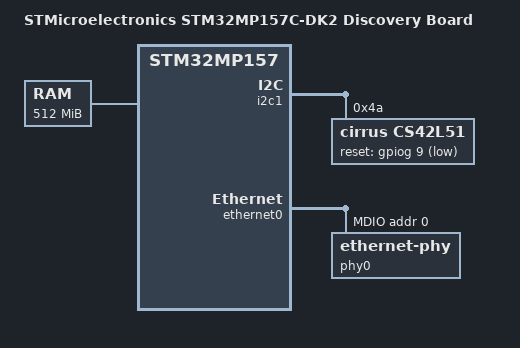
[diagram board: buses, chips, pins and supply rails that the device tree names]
/dts-v1/; /* the required version header at the top of the file */

/ {
    #address-cells = <1>; /* how many "cells" (32-bits) are used to represent addresses */
    #size-cells = <1>; /*  same for sizes */
    model = "STMicroelectronics STM32MP157C-DK2 Discovery Board";
    compatible = "st,stm32mp157c-dk2", "st,stm32mp157";

    cpus {
        #address-cells = <1>;
        #size-cells = <0>; /* no size specified, not applicable  */

        cpu0: cpu@0 {
            compatible = "arm,cortex-a7";
            clock-frequency = <650000000>;
            device_type = "cpu";
            reg = <0>;
        };

        cpu1: cpu@1 {
            compatible = "arm,cortex-a7";
            clock-frequency = <650000000>;
            device_type = "cpu";
            reg = <1>;
        };
    };

    memory@0 {
        device_type = "memory";
        reg = <0x0 0x20000000>; /* address (0x0) + size (512MB) */
    };

    chosen {
        bootargs = "";
        stdout-path = "serial0:115200n8";
    };

    intc: interrupt-controller@a0021000 { /* label: node */
        compatible = "arm,cortex-a7-gic";
        #interrupt-cells = <3>;
        interrupt-controller;
        reg = <0xa0021000 0x1000>,
              <0xa0022000 0x2000>;
    };

    soc {
        compatible = "simple-bus";
        #address-cells = <1>;
        #size-cells = <1>;
        interrupt-parent = <&intc>;

        i2c1: i2c@40012000 {
            compatible = "st,stm32mp15-i2c";
            reg = <0x40012000 0x400>;
            interrupts = <GIC_SPI 31 IRQ_TYPE_LEVEL_HIGH>,
                         <GIC_SPI 32 IRQ_TYPE_LEVEL_HIGH>;
            #address-cells = <1>;
            #size-cells = <0>;
            status = "okay";

            cs42l51: cs42l51@4a {
                compatible = "cirrus,cs42l51";
                reg = <0x4a>;
                reset-gpios = <&gpiog 9 GPIO_ACTIVE_LOW>;
                status = "okay";
            };
        };

        ethernet0: ethernet@5800a000 {
            compatible = "st,stm32mp1-dwmac", "snps,dwmac-4.20a";
            reg = <0x5800a000 0x2000>;
            interrupts-extended = <&intc GIC_SPI 61 IRQ_TYPE_LEVEL_HIGH>;
            status = "okay";

            mdio0 {
                #address-cells = <1>;
                #size-cells = <0>;
                compatible = "snps,dwmac-mdio";

                phy0: ethernet-phy@0 {
                    reg = <0>;
                };
            };
        };
    };
};
